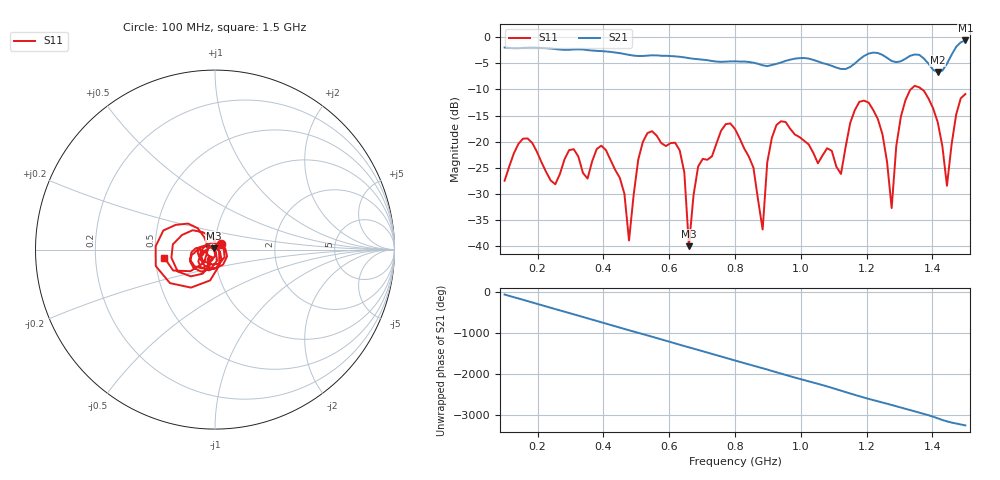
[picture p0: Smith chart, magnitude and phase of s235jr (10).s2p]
! NanoVNA-App
! Date: 2025-09-25 15:04:14
! Start: 100MHz Stop: 1,5GHz Points: 101
! S-Parameter data: F S11 S21 S12 S22
# Hz S RI R 50
!  Frequency  S11_Real  S11_Imag  S21_Real  S21_Imag  S12_Real  S12_Imag  S22_Real  S22_Imag
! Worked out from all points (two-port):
!   101 points, 100 MHz to 1.5 GHz, reference 50 ohm
!   highest |S21| = -0.62 dB at 1.5 GHz (marker M1); lowest = -6.7 dB at 1.416 GHz (marker M2)
!   |S21| within 3 dB of the highest: start of sweep to 607.2 MHz; 1.191 GHz to 1.254 GHz (62.33 MHz wide, 5.1 % of centre) (the widest 2 of 4)
!   lowest |S11| = -40.0 dB at 660 MHz (marker M3), VSWR 1.02, Z = 49.3 + j0.67 ohm
!   |S11| at or under -10 dB: start of sweep to 1.334 GHz; 1.368 GHz to end of sweep
!   S12 and S22 are empty: the file has one direction only
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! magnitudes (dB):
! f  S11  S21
! 100 MHz  -27.5  -2.0
! 156 MHz  -19.4  -2.0
! 338 MHz  -26.0  -2.4
! 408 MHz  -21.6  -2.7
! 478 MHz  -38.9  -3.4
! 520 MHz  -20.1  -3.6
! 576 MHz  -20.3  -3.5
! 632 MHz  -21.7  -3.7
! 660 MHz  -40.0  -4.0
! 688 MHz  -24.8  -4.2
! 800 MHz  -17.6  -4.6
! 884 MHz  -36.8  -5.4
! 926 MHz  -16.8  -5.1
! 1.038 GHz  -22.2  -4.3
! 1.122 GHz  -26.2  -6.1
! 1.206 GHz  -12.5  -3.1
! 1.276 GHz  -32.7  -4.6
! 1.29 GHz  -20.8  -4.8
! 1.332 GHz  -10.1  -3.6
! 1.416 GHz  -16.3  -6.7
! 1.444 GHz  -28.4  -5.1
! 1.5 GHz  -10.9  -0.6
